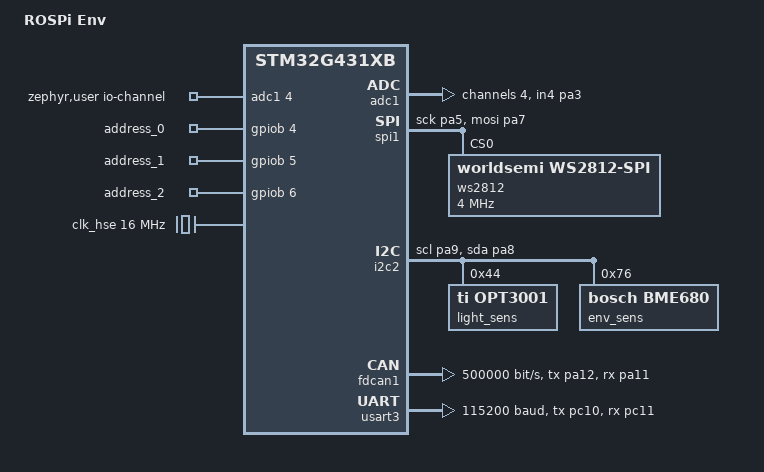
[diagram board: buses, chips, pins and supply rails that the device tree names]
/* 
 * ROSPi Env DTS File, made by Josh Grimes, adapted from:
 * "Copyright (c) 2019 Richard Osterloh <richard.osterloh@gmail.com>
 * SPDX-License-Identifier: Apache-2.0"
 */

/dts-v1/;
#include <st/g4/stm32g431Xb.dtsi>
#include <st/g4/stm32g431c(6-8-b)ux-pinctrl.dtsi>
#include <zephyr/dt-bindings/input/input-event-codes.h>
#include <zephyr/dt-bindings/adc/adc.h>
#include <zephyr/dt-bindings/led/worldsemi_ws2812c.h>
#include <zephyr/dt-bindings/led/led.h>

/ {
	#address-cells = <1>;
	#size-cells = <1>;
	model = "ROSPi Env";
	compatible = "snsr,rospi_env";

	zephyr,user {
        io-channels = <&adc1 4>;
    };

	chosen {
		zephyr,console = &usart3;
		zephyr,shell-uart = &usart3;
		zephyr,sram = &sram0;
		zephyr,flash = &flash0;
		zephyr,canbus = &fdcan1;
	};

	aliases {
		add0 = &address_0;
		add1 = &address_1;
		add2 = &address_2;
	};

	gpiocustom {
		compatible = "gpio-keys";

		address_0: addr0 {
			gpios = <&gpiob 4 (GPIO_PULL_UP | GPIO_ACTIVE_HIGH)>;
		};

		address_1: addr1 {
			gpios = <&gpiob 5 (GPIO_PULL_UP | GPIO_ACTIVE_HIGH)>;
		};
		
		address_2: addr2 {
			gpios = <&gpiob 6 (GPIO_PULL_UP | GPIO_ACTIVE_HIGH)>;
		};
	};
};

&clk_lsi {
	status = "okay";
};

/* Dane seems to think this isn't necessary to have */
&clk_lse {
	status = "disabled";
};

&clk_hsi48 {
	status = "okay";
};

&clk_hse {
	clock-frequency = <DT_FREQ_M(16)>;
	status = "okay";
};

&pll {
	div-m = <4>;
	mul-n = <85>;
	div-p = <2>;
	div-q = <2>;
	div-r = <2>;
	clocks = <&clk_hse>;
	status = "okay";
};

&rcc {
	clocks = <&pll>;
	clock-frequency = <DT_FREQ_M(170)>;
	ahb-prescaler = <1>;
	apb1-prescaler = <1>;
	apb2-prescaler = <1>;
};

&gpioa {
	status = "okay";
};

&gpiob {
	status = "okay";
};

&gpioc {
	status = "okay";
};

/* gpiod, gpioe left out because ROSPi Env doesn't use them */

&gpiof {
	status = "okay";
};

&gpiog {
	status = "okay";
};

&adc1 {
	status = "okay";
    #address-cells = <1>;
    #size-cells = <0>;

	pinctrl-0 = <&adc1_in4_pa3>;
    pinctrl-names = "default";
	st,adc-clock-source = <1>;
	st,adc-prescaler = <1>;

    channel@4 {
		reg = <4>;
		zephyr,gain = "ADC_GAIN_1";
		zephyr,reference = "ADC_REF_INTERNAL";
		zephyr,acquisition-time = <ADC_ACQ_TIME_DEFAULT>;
		zephyr,resolution = <12>;
	};
};

&spi1 {
	status = "okay";
    pinctrl-0 = <&spi1_sck_pa5 &spi1_mosi_pa7>;
	pinctrl-names = "default";

    ws2812@0 {
        compatible = "worldsemi,ws2812-spi";
        reg = <0>;
        chain-length = <8>;

		spi-max-frequency = <4000000>;
        spi-one-frame = <0x70>;
        spi-zero-frame = <0x40>;
		color-mapping = <LED_COLOR_ID_GREEN
						 LED_COLOR_ID_RED
                         LED_COLOR_ID_BLUE>;
    };
};

&i2c2 {
	pinctrl-0 = <&i2c2_scl_pa9 &i2c2_sda_pa8>;
	pinctrl-names = "default";
	status = "okay";

	light_sens: opt3001@44 {
        compatible = "ti,opt3001";
        reg = <0x44>;
    };

	/* commented because its SDA and SCK lines are physically switched on board with the current revision
	barometer: lps22hb@5c {
		compatible = "st,lps22hb-press";
		reg = <0x5c>;
		status = "disabled";
	};
	*/

	env_sens: bme680@76 {
		compatible = "bosch,bme680";
		reg = <0x76>;
	};
};

&fdcan1 {
	pinctrl-0 = <&fdcan1_tx_pa12 &fdcan1_rx_pa11>;
	pinctrl-names = "default";
	status = "okay";

	bus-speed = <500000>;
	bus-speed-data = <500000>;
};

/* uart4 is what's listed on the schematic, but usart3 is what corresponds
   to the pins...
 */ 
&usart3 { 
    status = "okay";
	pinctrl-0 = <&usart3_tx_pc10 &usart3_rx_pc11>;
	pinctrl-names = "default";
	current-speed = <115200>;
};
